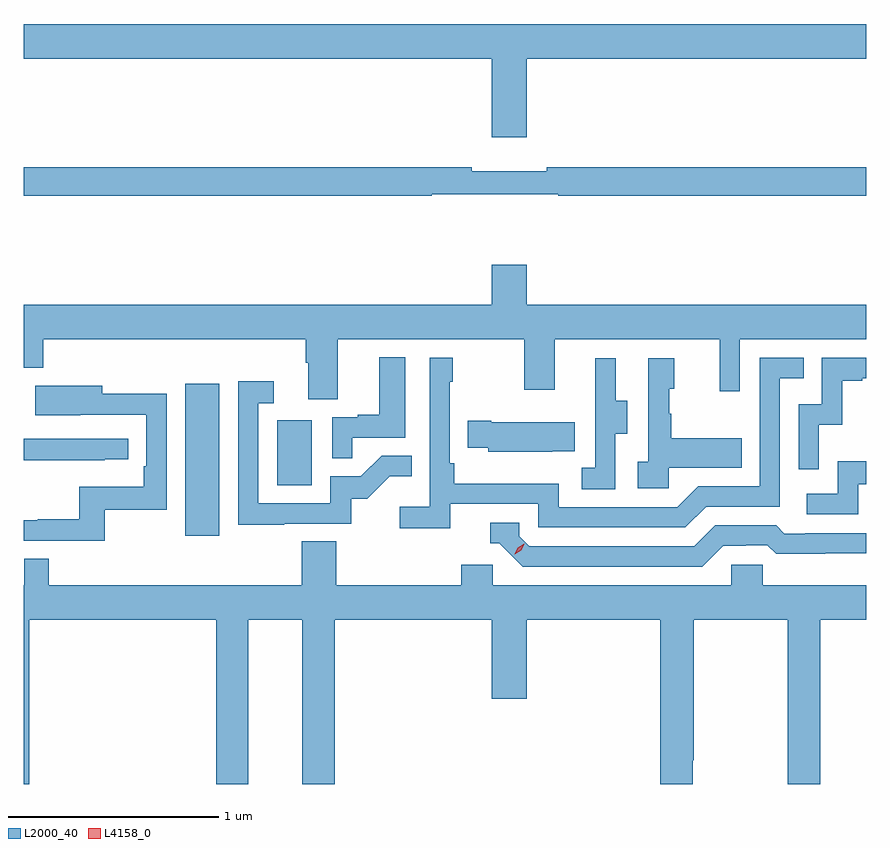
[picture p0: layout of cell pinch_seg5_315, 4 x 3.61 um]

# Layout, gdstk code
import gdstk
lib = gdstk.Library(unit=1e-6, precision=1e-09)
def R(c, l, rs):  # rectangles x0, y0, x1, y1
    for r in rs: c.add(gdstk.rectangle(r[:2], r[2:], *l))
def P(c, l, *ps):  # polygons
    for p in ps: c.add(gdstk.Polygon(p, *l))
L2000_40 = (2000, 40)
L4158_0 = (4158, 0)

pinch_seg5_315 = lib.new_cell('pinch_seg5_315')
R(pinch_seg5_315, L2000_40, [(942.773,893.124,942.934,893.845), (943.208,893.364,943.372,893.671)])
P(pinch_seg5_315, L2000_40, [(944.392,895.388),(946.005,895.388),(946.005,895.552),(942.005,895.552),(942.005,895.388),(944.228,895.388),(944.228,895.014),(944.392,895.014)],
  [(943.942,894.744),(944.542,894.744),(944.542,894.736),(946.005,894.736),(946.005,894.872),(944.488,894.872),(944.488,894.853),(944.132,894.853),(944.132,894.872),(942.005,894.872),(942.005,894.736),(943.942,894.736)],
  [(943.495,894.056),(944.38,894.056),(944.38,893.817),(944.527,893.817),(944.527,894.056),(945.308,894.056),(945.308,893.808),(945.405,893.808),(945.405,894.056),(946.005,894.056),(946.005,894.22),(944.392,894.22),(944.392,894.409),(944.228,894.409),(944.228,894.22),(942.005,894.22),(942.005,893.921),(942.098,893.921),(942.098,894.056),(943.343,894.056),(943.343,893.944),(943.355,893.944),(943.355,893.77),(943.495,893.77)],
  [(943.565,893.589),(943.816,893.589),(943.816,893.971),(943.694,893.971),(943.694,893.698),(943.591,893.698),(943.591,893.685),(943.47,893.685),(943.47,893.491),(943.565,893.491)],
  [(944.03,893.274),(944.448,893.274),(944.448,893.163),(945.145,893.163),(945.244,893.262),(945.594,893.262),(945.594,893.871),(945.707,893.871),(945.707,893.967),(945.498,893.967),(945.498,893.358),(945.207,893.358),(945.108,893.259),(944.544,893.259),(944.544,893.371),(944.048,893.371),(944.048,893.467),(944.028,893.467),(944.028,893.855),(944.041,893.855),(944.041,893.968),(943.932,893.968),(943.932,893.26),(943.791,893.26),(943.791,893.158),(944.03,893.158)],
  [(945.78,893.651),(945.89,893.651),(945.89,893.859),(945.985,893.859),(945.985,893.871),(946.005,893.871),(946.005,893.967),(945.792,893.967),(945.792,893.748),(945.684,893.748),(945.684,893.439),(945.78,893.439)],
  [(944.814,893.608),(944.869,893.608),(944.869,893.763),(944.815,893.763),(944.815,893.965),(944.717,893.965),(944.717,893.751),(944.718,893.751),(944.718,893.447),(944.655,893.447),(944.655,893.344),(944.814,893.344)],
  [(945.066,893.447),(945.413,893.447),(945.413,893.587),(945.079,893.587),(945.079,893.702),(945.069,893.702),(945.069,893.82),(945.094,893.82),(945.094,893.965),(944.97,893.965),(944.97,893.474),(944.919,893.474),(944.919,893.349),(945.066,893.349)],
  [(943.241,893.181),(943.56,893.181),(943.56,893.298),(943.636,893.298),(943.743,893.405),(943.847,893.405),(943.847,893.504),(943.704,893.504),(943.606,893.406),(943.461,893.406),(943.461,893.277),(943.119,893.277),(943.119,893.751),(943.192,893.751),(943.192,893.857),(943.023,893.857),(943.023,893.176),(943.241,893.176)],
  [(942.391,893.247),(942.684,893.247),(942.684,893.798),(942.379,893.798),(942.379,893.836),(942.061,893.836),(942.061,893.696),(942.275,893.696),(942.275,893.697),(942.588,893.697),(942.588,893.452),(942.575,893.452),(942.575,893.356),(942.27,893.356),(942.27,893.201),(942.073,893.201),(942.073,893.196),(942.005,893.196),(942.005,893.1),(942.391,893.1)],
  [(944.513,893.525),(944.621,893.525),(944.621,893.662),(944.224,893.662),(944.224,893.67),(944.113,893.67),(944.113,893.54),(944.211,893.54),(944.211,893.522),(944.513,893.522)],
  [(942.389,893.487),(942.502,893.487),(942.502,893.583),(942.005,893.583),(942.005,893.482),(942.389,893.482)],
  [(945.966,893.367),(946.005,893.367),(946.005,893.476),(945.87,893.476),(945.87,893.322),(945.723,893.322),(945.723,893.226),(945.966,893.226)],
  [(945.325,893.076),(945.432,893.076),(945.432,893.079),(945.535,893.079),(945.577,893.037),(945.81,893.037),(945.81,893.039),(946.005,893.039),(946.005,893.136),(945.715,893.136),(945.715,893.133),(945.616,893.133),(945.577,893.172),(945.288,893.172),(945.189,893.073),(944.406,893.073),(944.358,893.121),(944.358,893.184),(944.219,893.184),(944.219,893.088),(944.262,893.088),(944.373,892.977),(945.226,892.977)],
  [(942.032,892.724),(942.92,892.724),(942.92,891.945),(943.072,891.945),(943.072,892.724),(943.328,892.724),(943.328,891.945),(943.481,891.945),(943.481,892.724),(944.228,892.724),(944.228,892.35),(944.392,892.35),(944.392,892.724),(945.026,892.724),(945.026,891.945),(945.181,891.945),(945.181,892.057),(945.186,892.057),(945.186,892.724),(945.631,892.724),(945.631,891.945),(945.786,891.945),(945.786,892.724),(946.005,892.724),(946.005,892.888),(945.513,892.888),(945.513,892.986),(945.363,892.986),(945.363,892.888),(944.232,892.888),(944.232,892.986),(944.081,892.986),(944.081,892.888),(943.49,892.888),(943.49,893.096),(943.325,893.096),(943.325,892.888),(942.125,892.888),(942.125,893.015),(942.009,893.015),(942.009,892.888),(942.005,892.888),(942.005,891.945),(942.032,891.945)])
P(pinch_seg5_315, L4158_0, [(944.335,893.035),(944.335,893.035),(944.351,893.067),(944.382,893.086),(944.382,893.086),(944.382,893.086),(944.366,893.054),(944.336,893.035)])

lib.write_gds('pinch_seg5_315.gds')
